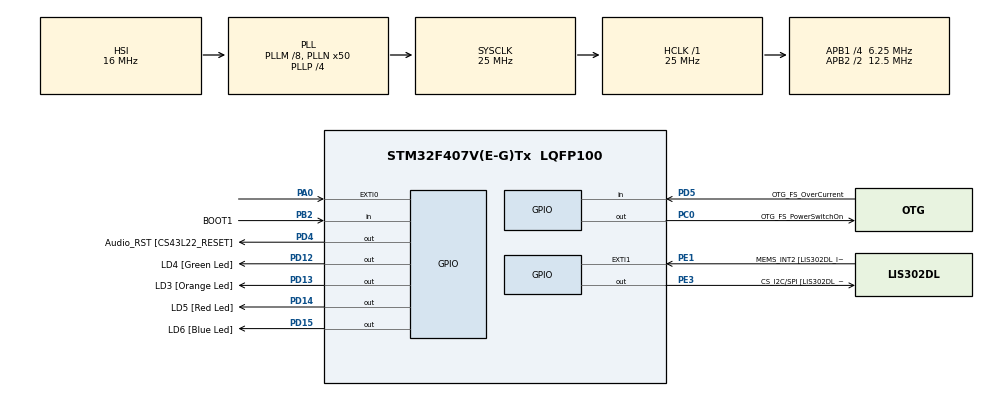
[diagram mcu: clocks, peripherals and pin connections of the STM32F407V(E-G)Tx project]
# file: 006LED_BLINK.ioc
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Mcu.Family=STM32F4
Mcu.Name=STM32F407V(E-G)Tx
Mcu.Package=LQFP100
NVIC.EXTI0_IRQn=true\:5\:0\:true\:false\:true\:true\:true\:true
NVIC.PriorityGroup=NVIC_PRIORITYGROUP_4
NVIC.TIM6_DAC_IRQn=true\:15\:0\:false\:false\:true\:false\:true\:true
NVIC.TimeBase=TIM6_DAC_IRQn
NVIC.TimeBaseIP=TIM6
PA0-WKUP.GPIO_ModeDefaultEXTI=GPIO_MODE_IT_FALLING
PA0-WKUP.Signal=GPXTI0
PA10.GPIO_Label=OTG_FS_ID
PA10.GPIO_Mode=GPIO_MODE_AF_PP
PA10.GPIO_PuPd=GPIO_NOPULL
PA10.GPIO_Speed=GPIO_SPEED_FREQ_LOW
PA10.Signal=USB_OTG_FS_ID
PA11.GPIO_Label=OTG_FS_DM
PA11.GPIO_Mode=GPIO_MODE_AF_PP
PA11.GPIO_PuPd=GPIO_NOPULL
PA11.GPIO_Speed=GPIO_SPEED_FREQ_LOW
PA11.Signal=USB_OTG_FS_DM
PA12.GPIO_Label=OTG_FS_DP
PA12.GPIO_Mode=GPIO_MODE_AF_PP
PA12.GPIO_PuPd=GPIO_NOPULL
PA12.GPIO_Speed=GPIO_SPEED_FREQ_LOW
PA12.Signal=USB_OTG_FS_DP
PA13.GPIO_Label=SWDIO
PA13.Signal=SYS_JTMS-SWDIO
PA14.GPIO_Label=SWCLK
PA14.Signal=SYS_JTCK-SWCLK
PA4.GPIO_Label=I2S3_WS [CS43L22_LRCK]
PA4.GPIO_Mode=GPIO_MODE_AF_PP
PA4.GPIO_PuPd=GPIO_NOPULL
PA4.GPIO_Speed=GPIO_SPEED_FREQ_LOW
PA4.Signal=I2S3_WS
PA5.GPIO_Label=SPI1_SCK [LIS302DL_SCL/SPC]
PA5.GPIO_Mode=GPIO_MODE_AF_PP
PA5.GPIO_PuPd=GPIO_NOPULL
PA5.GPIO_Speed=GPIO_SPEED_FREQ_LOW
PA5.Signal=SPI1_SCK
PA6.GPIO_Label=SPI1_MISO [LIS302DL_SDO]
PA6.GPIO_Mode=GPIO_MODE_AF_PP
PA6.GPIO_PuPd=GPIO_NOPULL
PA6.GPIO_Speed=GPIO_SPEED_FREQ_LOW
PA6.Signal=SPI1_MISO
PA7.GPIO_Label=SPI1_MOSI [LIS302DL_SDA/SDI/SDO]
PA7.GPIO_Mode=GPIO_MODE_AF_PP
PA7.GPIO_PuPd=GPIO_NOPULL
PA7.GPIO_Speed=GPIO_SPEED_FREQ_LOW
PA7.Signal=SPI1_MOSI
PA9.GPIO_Label=VBUS_FS
PA9.GPIO_Mode=GPIO_MODE_INPUT
PA9.GPIO_PuPd=GPIO_NOPULL
PA9.Signal=USB_OTG_FS_VBUS
PB10.GPIO_Label=CLK_IN [MP45DT02_CLK]
PB10.GPIO_Mode=GPIO_MODE_AF_PP
PB10.GPIO_PuPd=GPIO_NOPULL
PB10.GPIO_Speed=GPIO_SPEED_FREQ_LOW
PB10.Signal=I2S2_CK
PB2.GPIO_Label=BOOT1
PB2.GPIO_Mode=GPIO_MODE_INPUT
PB2.GPIO_PuPd=GPIO_NOPULL
PB2.Signal=GPIO_Input
PB3.GPIO_Label=SWO
PB3.Signal=SYS_JTDO-SWO
PB6.GPIO_Label=Audio_SCL [CS43L22_SCL]
PB6.GPIO_Mode=GPIO_MODE_AF_OD
PB6.GPIO_PuPd=GPIO_NOPULL
PB6.GPIO_Speed=GPIO_SPEED_FREQ_LOW
PB6.Signal=I2C1_SCL
PB9.GPIO_Label=Audio_SDA [CS43L22_SDA]
PB9.GPIO_Mode=GPIO_MODE_AF_OD
PB9.GPIO_PuPd=GPIO_NOPULL
PB9.GPIO_Speed=GPIO_SPEED_FREQ_LOW
PB9.Signal=I2C1_SDA
PC0.GPIO_Label=OTG_FS_PowerSwitchOn
PC0.GPIO_PuPd=GPIO_NOPULL
PC0.GPIO_Speed=GPIO_SPEED_FREQ_LOW
PC0.PinState=GPIO_PIN_SET
PC0.Signal=GPIO_Output
PC10.GPIO_Label=I2S3_SCK [CS43L22_SCLK]
PC10.GPIO_Mode=GPIO_MODE_AF_PP
PC10.GPIO_PuPd=GPIO_NOPULL
PC10.GPIO_Speed=GPIO_SPEED_FREQ_LOW
PC10.Signal=I2S3_CK
PC12.GPIO_Label=I2S3_SD [CS43L22_SDIN]
PC12.GPIO_Mode=GPIO_MODE_AF_PP
PC12.GPIO_PuPd=GPIO_NOPULL
PC12.GPIO_Speed=GPIO_SPEED_FREQ_LOW
PC12.Signal=I2S3_SD
PC14-OSC32_IN.GPIO_Label=PC14-OSC32_IN
PC14-OSC32_IN.Signal=RCC_OSC32_IN
PC15-OSC32_OUT.GPIO_Label=PC15-OSC32_OUT
PC15-OSC32_OUT.Signal=RCC_OSC32_OUT
PC3.GPIO_Label=PDM_OUT [MP45DT02_DOUT]
PC3.GPIO_Mode=GPIO_MODE_AF_PP
PC3.GPIO_PuPd=GPIO_NOPULL
PC3.GPIO_Speed=GPIO_SPEED_FREQ_LOW
PC3.Signal=I2S2_SD
PC7.GPIO_Label=I2S3_MCK [CS43L22_MCLK]
PC7.GPIO_Mode=GPIO_MODE_AF_PP
PC7.GPIO_PuPd=GPIO_NOPULL
PC7.GPIO_Speed=GPIO_SPEED_FREQ_LOW
PC7.Signal=I2S3_MCK
PD12.GPIO_Label=LD4 [Green Led]
PD12.GPIO_PuPd=GPIO_NOPULL
PD12.GPIO_Speed=GPIO_SPEED_FREQ_LOW
PD12.Signal=GPIO_Output
PD13.GPIO_Label=LD3 [Orange Led]
PD13.GPIO_PuPd=GPIO_NOPULL
PD13.GPIO_Speed=GPIO_SPEED_FREQ_LOW
PD13.Signal=GPIO_Output
PD14.GPIO_Label=LD5 [Red Led]
PD14.GPIO_PuPd=GPIO_NOPULL
PD14.GPIO_Speed=GPIO_SPEED_FREQ_LOW
PD14.Signal=GPIO_Output
PD15.GPIO_Label=LD6 [Blue Led]
PD15.GPIO_PuPd=GPIO_NOPULL
PD15.GPIO_Speed=GPIO_SPEED_FREQ_LOW
PD15.Signal=GPIO_Output
PD4.GPIO_Label=Audio_RST [CS43L22_RESET]
PD4.GPIO_PuPd=GPIO_NOPULL
PD4.GPIO_Speed=GPIO_SPEED_FREQ_LOW
PD4.Signal=GPIO_Output
PD5.GPIO_Label=OTG_FS_OverCurrent
PD5.GPIO_Mode=GPIO_MODE_INPUT
PD5.GPIO_PuPd=GPIO_NOPULL
PD5.Signal=GPIO_Input
PE1.GPIO_Label=MEMS_INT2 [LIS302DL_INT2]
PE1.GPIO_ModeDefaultEXTI=GPIO_MODE_EVT_RISING
PE1.GPIO_PuPd=GPIO_NOPULL
PE1.Signal=GPXTI1
PE3.GPIO_Label=CS_I2C/SPI [LIS302DL_CS_I2C/SPI]
PE3.GPIO_PuPd=GPIO_NOPULL
PE3.GPIO_Speed=GPIO_SPEED_FREQ_LOW
PE3.Signal=GPIO_Output
PH0-OSC_IN.GPIO_Label=PH0-OSC_IN
PH0-OSC_IN.Signal=RCC_OSC_IN
PH1-OSC_OUT.GPIO_Label=PH1-OSC_OUT
PH1-OSC_OUT.Signal=RCC_OSC_OUT
ProjectManager.HeapSize=0x200
ProjectManager.StackSize=0x400
ProjectManager.TargetToolchain=STM32CubeIDE
RCC.48MHZClocksFreq_Value=14285714.285714285
RCC.AHBFreq_Value=25000000
RCC.APB1CLKDivider=RCC_HCLK_DIV4
RCC.APB1Freq_Value=6250000
RCC.APB1TimFreq_Value=12500000
RCC.APB2CLKDivider=RCC_HCLK_DIV2
RCC.APB2Freq_Value=12500000
RCC.APB2TimFreq_Value=25000000
RCC.CortexFreq_Value=25000000
RCC.HCLKFreq_Value=25000000
RCC.HSE_VALUE=8000000
RCC.HSI_VALUE=16000000
RCC.LSE_VALUE=32768
RCC.PLLM=8
RCC.PLLN=50
RCC.PLLP=RCC_PLLP_DIV4
RCC.PLLQ=7
RCC.SYSCLKFreq_VALUE=25000000
RCC.SYSCLKSource=RCC_SYSCLKSOURCE_PLLCLK
RCC.VCOOutputFreq_Value=100000000
VP_SYS_VS_tim6.Mode=TIM6
board=STM32F407G-DISC1

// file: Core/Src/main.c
/* USER CODE BEGIN Header */
/**
  ******************************************************************************
  * @file           : main.c
  * @brief          : Main program body
  ******************************************************************************
  * @attention
  *
  * Copyright (c) 2025 STMicroelectronics.
  * All rights reserved.
  *
  * This software is licensed under terms that can be found in the LICENSE file
  * in the root directory of this software component.
  * If no LICENSE file comes with this software, it is provided AS-IS.
  *
  ******************************************************************************
  */
/* USER CODE END Header */
#include "main.h"

/* USER CODE BEGIN Includes */
#include<stdio.h>
#include<stdint.h>
#include"FreeRTOS.h"
#include"Task.h"

/* USER CODE END Includes */

static void REDHANDLER(void*parameters);
static void BLUEHANDLER(void*parameters);
static void GREENHANDLER(void*parameters);
//static void BUTTON_INTERRUPT_HANDLER(void*parameters);
/* USER CODE END PD */

/* USER CODE BEGIN PM */
#define DWT_CTRL (*(volatile uint32_t*)0xE0001000)
TaskHandle_t RED_HANDLE;
  TaskHandle_t BLUE_HANDLE;

TaskHandle_t GREEN_HANDLE;

TaskHandle_t volatile NEXT_HANDLE;

void SystemClock_Config(void);
static void MX_GPIO_Init(void);

int main(void)
{

  /* MCU Configuration--------------------------------------------------------*/

  /* Reset of all peripherals, Initializes the Flash interface and the Systick. */
  HAL_Init();

  /* Configure the system clock */
  SystemClock_Config();

  /* Initialize all configured peripherals */
  MX_GPIO_Init();
  /* USER CODE BEGIN 2 */
  DWT_CTRL |=(0<<1);
   SEGGER_SYSVIEW_Conf();
   SEGGER_SYSVIEW_Start();
   BaseType_t status;
   status=xTaskCreate(REDHANDLER, "RED_LED_TOGGLE",200, NULL, 3,&RED_HANDLE);
   configASSERT(status==pdPASS);
   NEXT_HANDLE=RED_HANDLE;
   status=xTaskCreate(BLUEHANDLER, "BLUE_LED_TOGGLE",200, NULL, 2,&BLUE_HANDLE);
   configASSERT(status==pdPASS);

   status=xTaskCreate(GREENHANDLER, "GREEN_LED_TOGGLE",200, NULL, 1,&GREEN_HANDLE);
   configASSERT(status==pdPASS);
       vTaskStartScheduler();

  /* USER CODE END 2 */

  /* Infinite loop */
  while (1)
  {

  }
}

void SystemClock_Config(void)
{
  RCC_OscInitTypeDef RCC_OscInitStruct = {0};
  RCC_ClkInitTypeDef RCC_ClkInitStruct = {0};

  /** Configure the main internal regulator output voltage
  */
  __HAL_RCC_PWR_CLK_ENABLE();
  __HAL_PWR_VOLTAGESCALING_CONFIG(PWR_REGULATOR_VOLTAGE_SCALE1);

  /** Initializes the RCC Oscillators according to the specified parameters
  * in the RCC_OscInitTypeDef structure.
  */
  RCC_OscInitStruct.OscillatorType = RCC_OSCILLATORTYPE_HSI;
  RCC_OscInitStruct.HSIState = RCC_HSI_ON;
  RCC_OscInitStruct.HSICalibrationValue = RCC_HSICALIBRATION_DEFAULT;
  RCC_OscInitStruct.PLL.PLLState = RCC_PLL_ON;
  RCC_OscInitStruct.PLL.PLLSource = RCC_PLLSOURCE_HSI;
  RCC_OscInitStruct.PLL.PLLM = 8;
  RCC_OscInitStruct.PLL.PLLN = 50;
  RCC_OscInitStruct.PLL.PLLP = RCC_PLLP_DIV4;
  RCC_OscInitStruct.PLL.PLLQ = 7;
  if (HAL_RCC_OscConfig(&RCC_OscInitStruct) != HAL_OK)
  {
    Error_Handler();
  }

  /** Initializes the CPU, AHB and APB buses clocks
  */
  RCC_ClkInitStruct.ClockType = RCC_CLOCKTYPE_HCLK|RCC_CLOCKTYPE_SYSCLK
                              |RCC_CLOCKTYPE_PCLK1|RCC_CLOCKTYPE_PCLK2;
  RCC_ClkInitStruct.SYSCLKSource = RCC_SYSCLKSOURCE_PLLCLK;
  RCC_ClkInitStruct.AHBCLKDivider = RCC_SYSCLK_DIV1;
  RCC_ClkInitStruct.APB1CLKDivider = RCC_HCLK_DIV4;
  RCC_ClkInitStruct.APB2CLKDivider = RCC_HCLK_DIV2;

  if (HAL_RCC_ClockConfig(&RCC_ClkInitStruct, FLASH_LATENCY_0) != HAL_OK)
  {
    Error_Handler();
  }
}

static void MX_GPIO_Init(void)
{
  GPIO_InitTypeDef GPIO_InitStruct = {0};

  /* GPIO Ports Clock Enable */
  __HAL_RCC_GPIOE_CLK_ENABLE();
  __HAL_RCC_GPIOC_CLK_ENABLE();
  __HAL_RCC_GPIOH_CLK_ENABLE();
  __HAL_RCC_GPIOA_CLK_ENABLE();
  __HAL_RCC_GPIOB_CLK_ENABLE();
  __HAL_RCC_GPIOD_CLK_ENABLE();

  /*Configure GPIO pin Output Level */
  HAL_GPIO_WritePin(CS_I2C_SPI_GPIO_Port, CS_I2C_SPI_Pin, GPIO_PIN_RESET);

  /*Configure GPIO pin Output Level */
  HAL_GPIO_WritePin(OTG_FS_PowerSwitchOn_GPIO_Port, OTG_FS_PowerSwitchOn_Pin, GPIO_PIN_SET);

  /*Configure GPIO pin Output Level */
  HAL_GPIO_WritePin(GPIOD, LD4_Pin|LD3_Pin|LD5_Pin|LD6_Pin
                          |Audio_RST_Pin, GPIO_PIN_RESET);

  /*Configure GPIO pin : CS_I2C_SPI_Pin */
  GPIO_InitStruct.Pin = CS_I2C_SPI_Pin;
  GPIO_InitStruct.Mode = GPIO_MODE_OUTPUT_PP;
  GPIO_InitStruct.Pull = GPIO_NOPULL;
  GPIO_InitStruct.Speed = GPIO_SPEED_FREQ_LOW;
  HAL_GPIO_Init(CS_I2C_SPI_GPIO_Port, &GPIO_InitStruct);

  /*Configure GPIO pin : OTG_FS_PowerSwitchOn_Pin */
  GPIO_InitStruct.Pin = OTG_FS_PowerSwitchOn_Pin;
  GPIO_InitStruct.Mode = GPIO_MODE_OUTPUT_PP;
  GPIO_InitStruct.Pull = GPIO_NOPULL;
  GPIO_InitStruct.Speed = GPIO_SPEED_FREQ_LOW;
  HAL_GPIO_Init(OTG_FS_PowerSwitchOn_GPIO_Port, &GPIO_InitStruct);

  /*Configure GPIO pin : PDM_OUT_Pin */
  GPIO_InitStruct.Pin = PDM_OUT_Pin;
  GPIO_InitStruct.Mode = GPIO_MODE_AF_PP;
  GPIO_InitStruct.Pull = GPIO_NOPULL;
  GPIO_InitStruct.Speed = GPIO_SPEED_FREQ_LOW;
  GPIO_InitStruct.Alternate = GPIO_AF5_SPI2;
  HAL_GPIO_Init(PDM_OUT_GPIO_Port, &GPIO_InitStruct);

  /*Configure GPIO pin : PA0 */
  GPIO_InitStruct.Pin = GPIO_PIN_0;
  GPIO_InitStruct.Mode = GPIO_MODE_IT_FALLING;
  GPIO_InitStruct.Pull = GPIO_NOPULL;
  HAL_GPIO_Init(GPIOA, &GPIO_InitStruct);

  /*Configure GPIO pin : I2S3_WS_Pin */
  GPIO_InitStruct.Pin = I2S3_WS_Pin;
  GPIO_InitStruct.Mode = GPIO_MODE_AF_PP;
  GPIO_InitStruct.Pull = GPIO_NOPULL;
  GPIO_InitStruct.Speed = GPIO_SPEED_FREQ_LOW;
  GPIO_InitStruct.Alternate = GPIO_AF6_SPI3;
  HAL_GPIO_Init(I2S3_WS_GPIO_Port, &GPIO_InitStruct);

  /*Configure GPIO pins : SPI1_SCK_Pin SPI1_MISO_Pin SPI1_MOSI_Pin */
  GPIO_InitStruct.Pin = SPI1_SCK_Pin|SPI1_MISO_Pin|SPI1_MOSI_Pin;
  GPIO_InitStruct.Mode = GPIO_MODE_AF_PP;
  GPIO_InitStruct.Pull = GPIO_NOPULL;
  GPIO_InitStruct.Speed = GPIO_SPEED_FREQ_LOW;
  GPIO_InitStruct.Alternate = GPIO_AF5_SPI1;
  HAL_GPIO_Init(GPIOA, &GPIO_InitStruct);

  /*Configure GPIO pin : BOOT1_Pin */
  GPIO_InitStruct.Pin = BOOT1_Pin;
  GPIO_InitStruct.Mode = GPIO_MODE_INPUT;
  GPIO_InitStruct.Pull = GPIO_NOPULL;
  HAL_GPIO_Init(BOOT1_GPIO_Port, &GPIO_InitStruct);

  /*Configure GPIO pin : CLK_IN_Pin */
  GPIO_InitStruct.Pin = CLK_IN_Pin;
  GPIO_InitStruct.Mode = GPIO_MODE_AF_PP;
  GPIO_InitStruct.Pull = GPIO_NOPULL;
  GPIO_InitStruct.Speed = GPIO_SPEED_FREQ_LOW;
  GPIO_InitStruct.Alternate = GPIO_AF5_SPI2;
  HAL_GPIO_Init(CLK_IN_GPIO_Port, &GPIO_InitStruct);

  /*Configure GPIO pins : LD4_Pin LD3_Pin LD5_Pin LD6_Pin
                           Audio_RST_Pin */
  GPIO_InitStruct.Pin = LD4_Pin|LD3_Pin|LD5_Pin|LD6_Pin
                          |Audio_RST_Pin;
  GPIO_InitStruct.Mode = GPIO_MODE_OUTPUT_PP;
  GPIO_InitStruct.Pull = GPIO_NOPULL;
  GPIO_InitStruct.Speed = GPIO_SPEED_FREQ_LOW;
  HAL_GPIO_Init(GPIOD, &GPIO_InitStruct);

  /*Configure GPIO pins : I2S3_MCK_Pin I2S3_SCK_Pin I2S3_SD_Pin */
  GPIO_InitStruct.Pin = I2S3_MCK_Pin|I2S3_SCK_Pin|I2S3_SD_Pin;
  GPIO_InitStruct.Mode = GPIO_MODE_AF_PP;
  GPIO_InitStruct.Pull = GPIO_NOPULL;
  GPIO_InitStruct.Speed = GPIO_SPEED_FREQ_LOW;
  GPIO_InitStruct.Alternate = GPIO_AF6_SPI3;
  HAL_GPIO_Init(GPIOC, &GPIO_InitStruct);

  /*Configure GPIO pin : VBUS_FS_Pin */
  GPIO_InitStruct.Pin = VBUS_FS_Pin;
  GPIO_InitStruct.Mode = GPIO_MODE_INPUT;
  GPIO_InitStruct.Pull = GPIO_NOPULL;
  HAL_GPIO_Init(VBUS_FS_GPIO_Port, &GPIO_InitStruct);

  /*Configure GPIO pins : OTG_FS_ID_Pin OTG_FS_DM_Pin OTG_FS_DP_Pin */
  GPIO_InitStruct.Pin = OTG_FS_ID_Pin|OTG_FS_DM_Pin|OTG_FS_DP_Pin;
  GPIO_InitStruct.Mode = GPIO_MODE_AF_PP;
  GPIO_InitStruct.Pull = GPIO_NOPULL;
  GPIO_InitStruct.Speed = GPIO_SPEED_FREQ_LOW;
  GPIO_InitStruct.Alternate = GPIO_AF10_OTG_FS;
  HAL_GPIO_Init(GPIOA, &GPIO_InitStruct);

  /*Configure GPIO pin : OTG_FS_OverCurrent_Pin */
  GPIO_InitStruct.Pin = OTG_FS_OverCurrent_Pin;
  GPIO_InitStruct.Mode = GPIO_MODE_INPUT;
  GPIO_InitStruct.Pull = GPIO_NOPULL;
  HAL_GPIO_Init(OTG_FS_OverCurrent_GPIO_Port, &GPIO_InitStruct);

  /*Configure GPIO pins : Audio_SCL_Pin Audio_SDA_Pin */
  GPIO_InitStruct.Pin = Audio_SCL_Pin|Audio_SDA_Pin;
  GPIO_InitStruct.Mode = GPIO_MODE_AF_OD;
  GPIO_InitStruct.Pull = GPIO_NOPULL;
  GPIO_InitStruct.Speed = GPIO_SPEED_FREQ_LOW;
  GPIO_InitStruct.Alternate = GPIO_AF4_I2C1;
  HAL_GPIO_Init(GPIOB, &GPIO_InitStruct);

  /*Configure GPIO pin : MEMS_INT2_Pin */
  GPIO_InitStruct.Pin = MEMS_INT2_Pin;
  GPIO_InitStruct.Mode = GPIO_MODE_EVT_RISING;
  GPIO_InitStruct.Pull = GPIO_NOPULL;
  HAL_GPIO_Init(MEMS_INT2_GPIO_Port, &GPIO_InitStruct);

  /* EXTI interrupt init*/
  HAL_NVIC_SetPriority(EXTI0_IRQn, 5, 0);
  HAL_NVIC_EnableIRQ(EXTI0_IRQn);

}

/* USER CODE BEGIN 4 */
static void REDHANDLER(void*parameters){
	BaseType_t status;
	while(1){
		SEGGER_SYSVIEW_PrintfTarget("toggling red led");
		HAL_GPIO_TogglePin(GPIOD, RED_LED_PIN);
		status=xTaskNotifyWait(0,0,NULL,pdMS_TO_TICKS(1000));
		if (status==pdTRUE){
			portENTER_CRITICAL();
			NEXT_HANDLE=BLUE_HANDLE;
			portEXIT_CRITICAL();
			HAL_GPIO_WritePin(GPIOD, RED_LED_PIN,GPIO_PIN_SET);
			SEGGER_SYSVIEW_PrintfTarget("deleting red led handler !!");
			//passing null as an argument in vtsakdelete if task is self deleting !!
			vTaskDelete(NULL);

		}

	}

}
static void BLUEHANDLER(void*parameters)
{BaseType_t status;
	while(1){
		SEGGER_SYSVIEW_PrintfTarget("toggling blue led");
				HAL_GPIO_TogglePin(GPIOD, BLUE_LED_PIN);
				status=xTaskNotifyWait(0,0,NULL,pdMS_TO_TICKS(600));
				if (status==pdTRUE){
					portENTER_CRITICAL();
					NEXT_HANDLE=GREEN_HANDLE;
					portEXIT_CRITICAL();
					HAL_GPIO_WritePin(GPIOD, BLUE_LED_PIN,GPIO_PIN_SET);
					SEGGER_SYSVIEW_PrintfTarget("deleting blue led handler !!");
					//passing null as an argument in vtsakdelete if task is self deleting !!
					vTaskDelete(NULL);

				}
	}

}
static void GREENHANDLER(void*parameters){
	BaseType_t status;
	while(1){
		SEGGER_SYSVIEW_PrintfTarget("toggling GREEN led");
				HAL_GPIO_TogglePin(GPIOD, GREEN_LED_PIN);
				status=xTaskNotifyWait(0,0,NULL,pdMS_TO_TICKS(200));
				if (status==pdTRUE){
					portENTER_CRITICAL();
					NEXT_HANDLE=RED_HANDLE;
					portEXIT_CRITICAL();
					HAL_GPIO_WritePin(GPIOD, GREEN_LED_PIN,GPIO_PIN_SET);
					SEGGER_SYSVIEW_PrintfTarget("deleting green led handler and button handler too !!");
					//passing null as an argument in vtsakdelete if task is self deleting !!
					//vTaskDelete(BUTTON_HANDLE);
					vTaskDelete(NULL);

				}

	}}

void BUTTON_INTERRUPT_HANDLER(void){
	while(1){
		BaseType_t xHigherPriorityTaskWoken;
		xHigherPriorityTaskWoken=pdFALSE;
	   traceISR_ENTER();
		xTaskNotifyFromISR(NEXT_HANDLE,0,eNoAction,&xHigherPriorityTaskWoken);
		portYIELD_FROM_ISR(xHigherPriorityTaskWoken);
		traceISR_EXIT();
	}

}

/* USER CODE END 4 */

void HAL_TIM_PeriodElapsedCallback(TIM_HandleTypeDef *htim)
{
  if (htim->Instance == TIM6) {
    HAL_IncTick();
  }
}

void Error_Handler(void)
{
  __disable_irq();
  while (1)
  {
  }
}
